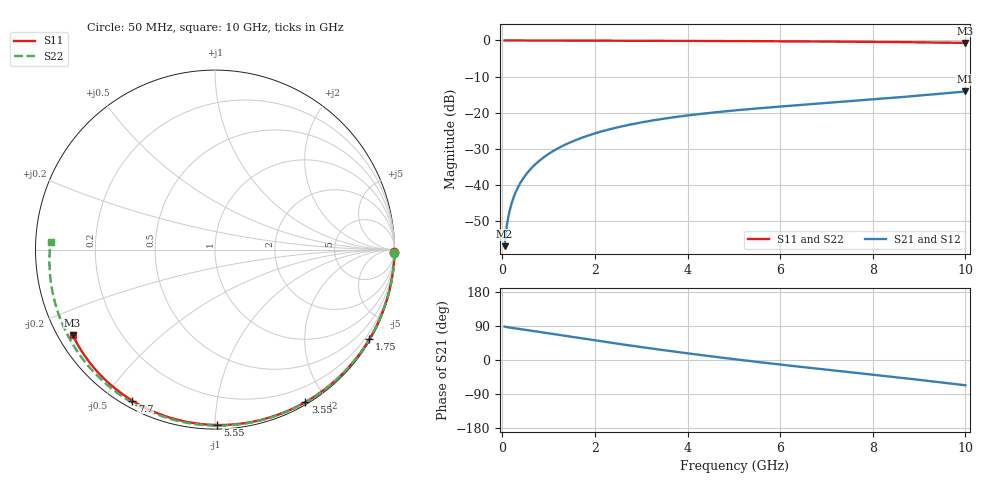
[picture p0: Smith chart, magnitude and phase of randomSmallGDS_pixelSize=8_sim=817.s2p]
! freq	dB(S11)	phase(S11)	dB(S12)	phase(S12)
!  dB(S21)	phase(S21)	dB(S22)	phase(S22)
!S-par simulation data
#  GHz  S  DB  R 50
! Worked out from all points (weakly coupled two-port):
!   200 points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, 50 MHz to 10 GHz, reference 50 ohm
!   highest |S21| = -14.13 dB at 10 GHz (marker M1); lowest = -57.0 dB at 50 MHz (marker M2)
!   lowest |S11| = -0.7 dB at 10 GHz (marker M3), VSWR 25.59, Z = 2.1 - j13.8 ohm
!   |S11| at or under -10 dB: nowhere
!   |S22| runs from -0.7 to 0.0 dB; largest |S21 - S12| = 0
!   S11 on the Smith chart (normalised r, x): 50 MHz: open; 1.75 GHz: 0.04, -3.72; 3.55 GHz: 0.03, -1.75; 5.55 GHz: 0.02, -1.01; 7.7 GHz: 0.03, -0.59; 10 GHz: 0.04, -0.28
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0.05  -0.00 -0.9  -56.97 88.2  -56.97 88.2  -0.00 -1.1
0.1  -0.00 -1.8  -51.04 86.8  -51.04 86.8  -0.00 -2.2
0.15  -0.00 -2.6  -47.60 85.8  -47.60 85.8  -0.00 -3.2
0.2  -0.00 -3.5  -45.16 84.9  -45.16 84.9  -0.00 -4.3
0.25  -0.00 -4.4  -43.26 84.0  -43.26 84.0  -0.00 -5.4
0.35  -0.00 -6.1  -40.39 82.3  -40.39 82.3  -0.01 -7.5
0.5  -0.01 -8.7  -37.33 79.6  -37.33 79.6  -0.01 -10.7
0.7  -0.02 -12.2  -34.45 75.9  -34.45 75.9  -0.02 -15.0
1  -0.02 -17.4  -31.42 70.3  -31.42 70.3  -0.03 -21.3
1.35  -0.03 -23.3  -28.91 63.8  -28.91 63.8  -0.04 -28.6
1.75  -0.05 -30.1  -26.80 56.3  -26.80 56.3  -0.06 -36.9
2.6  -0.07 -44.2  -23.74 41.0  -23.74 41.0  -0.09 -54.0
3.4  -0.10 -57.0  -21.84 27.3  -21.84 27.3  -0.12 -69.4
3.55  -0.11 -59.4  -21.55 24.9  -21.55 24.9  -0.12 -72.2
4.3  -0.14 -70.9  -20.32 12.9  -20.32 12.9  -0.16 -86.0
5.05  -0.17 -82.0  -19.34 1.5  -19.34 1.5  -0.20 -99.3
5.55  -0.20 -89.3  -18.78 -5.7  -18.78 -5.7  -0.23 -107.8
6.7  -0.27 -105.3  -17.62 -21.5  -17.62 -21.5  -0.31 -127.0
7.7  -0.36 -118.7  -16.63 -34.8  -16.63 -34.8  -0.41 -143.4
8.35  -0.43 -127.3  -15.97 -43.5  -15.97 -43.5  -0.49 -154.2
9.2  -0.54 -138.5  -15.05 -55.2  -15.05 -55.2  -0.61 -168.5
10  -0.68 -149.1  -14.13 -66.8  -14.13 -66.8  -0.75 177.3
